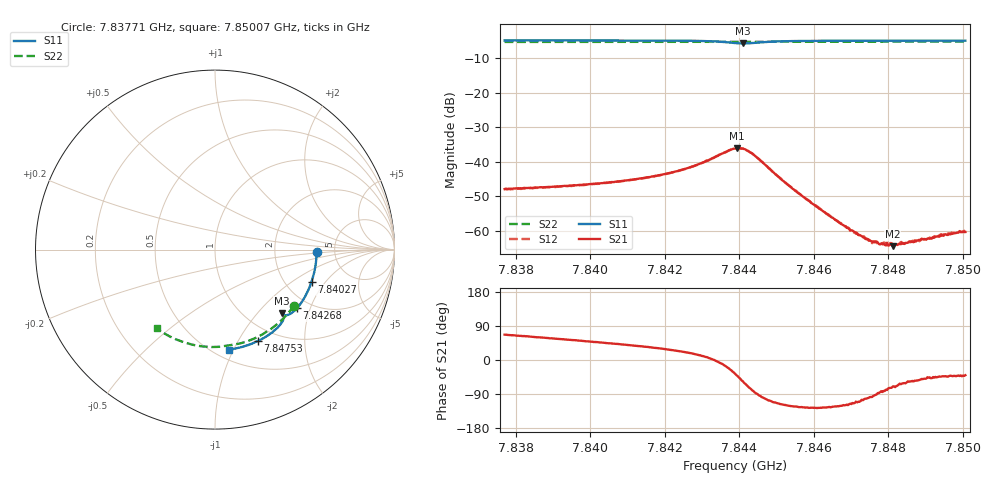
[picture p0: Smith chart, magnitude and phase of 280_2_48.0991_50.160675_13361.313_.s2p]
#  HZ  S  RI  R  50.00
! Rohde & Schwarz Vector Network Analyzer
! Rohde-Schwarz,ZNB20-2Port,1311601062101988,3.16
! Created: UTC 12/23/2023, 4:02:40 AM
! freq[Hz]  re:S11  im:S11  re:S21  im:S21  re:S12  im:S12  re:S22  im:S22
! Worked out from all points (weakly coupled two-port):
!   401 points, 7.83771 GHz to 7.85007 GHz, reference 50 ohm
!   highest |S21| = -36.14 dB at 7.84395 GHz (marker M1); lowest = -64.5 dB at 7.84812 GHz (marker M2)
!   lowest |S11| = -5.8 dB at 7.8441 GHz (marker M3), VSWR 3.11, Z = 71.1 - j68 ohm
!   |S11| at or under -10 dB: nowhere
!   |S22| runs from -5.4 to -5.3 dB; largest |S21 - S12| = 0.00033
!   S11 on the Smith chart (normalised r, x): 7.83771 GHz: 3.61, -0.12; 7.84027 GHz: 2.76, -1.46; 7.84268 GHz: 1.70, -1.63; 7.84753 GHz: 0.82, -1.22; 7.85007 GHz: 0.59, -0.96
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7.837707e9  0.5665 -0.0111  0.00158 0.0037  0.0016 0.00366  0.4408 -0.3115
7.839778e9  0.5474 -0.1476  0.00293 0.00356  0.00289 0.00353  0.3428 -0.4182
7.840272e9  0.5377 -0.1796  0.00336 0.00351  0.00333 0.00349  0.3153 -0.4391
7.84123e9  0.5128 -0.24  0.00443 0.00338  0.00438 0.00341  0.2586 -0.4755
7.841848e9  0.4924 -0.278  0.00546 0.00326  0.0054 0.00323  0.2198 -0.4949
7.842683e9  0.4563 -0.3273  0.00786 0.00262  0.00782 0.00262  0.1648 -0.5157
7.843425e9  0.4087 -0.3628  0.012 -0.000939  0.0121 -0.000917  0.1141 -0.5283
7.843888e9  0.3747 -0.3609  0.0125 -0.00914  0.0125 -0.00901  0.0831 -0.5324
7.84395e9  0.3726 -0.3586  0.0116 -0.0104  0.0116 -0.0103  0.0792 -0.5329
7.844104e9  0.3724 -0.3526  0.00846 -0.0129  0.00845 -0.0129  0.0698 -0.5343
7.844413e9  0.3825 -0.3574  0.00102 -0.0122  0.00115 -0.0122  0.0498 -0.5379
7.845217e9  0.3683 -0.4119  -0.00242 -0.00444  -0.00239 -0.00449  -0.00633 -0.5428
7.845959e9  0.3308 -0.4512  -0.00145 -0.002  -0.00147 -0.00205  -0.0588 -0.5405
7.84704e9  0.2689 -0.4938  -0.000401 -0.000922  -0.000412 -0.000884  -0.1338 -0.5276
7.847535e9  0.2391 -0.5094  -9.2e-05 -0.000703  -0.000116 -0.000713  -0.1671 -0.5185
7.847813e9  0.2219 -0.5172  8.6e-05 -0.000646  6.87e-05 -0.000659  -0.1856 -0.5123
7.848029e9  0.2086 -0.5229  0.000172 -0.000594  0.000172 -0.000622  -0.1998 -0.507
7.848122e9  0.2027 -0.5251  0.000206 -0.000562  0.00017 -0.00058  -0.2059 -0.5046
7.848524e9  0.1774 -0.5343  0.00037 -0.00056  0.000353 -0.000559  -0.2319 -0.4935
7.849451e9  0.1177 -0.5504  0.000623 -0.000582  0.000639 -0.000593  -0.2892 -0.4628
7.849976e9  0.0832 -0.5564  0.000698 -0.000649  0.000726 -0.000653  -0.32 -0.4425
7.850069e9  0.0771 -0.5573  0.000734 -0.000619  0.000706 -0.000621  -0.3251 -0.4387
